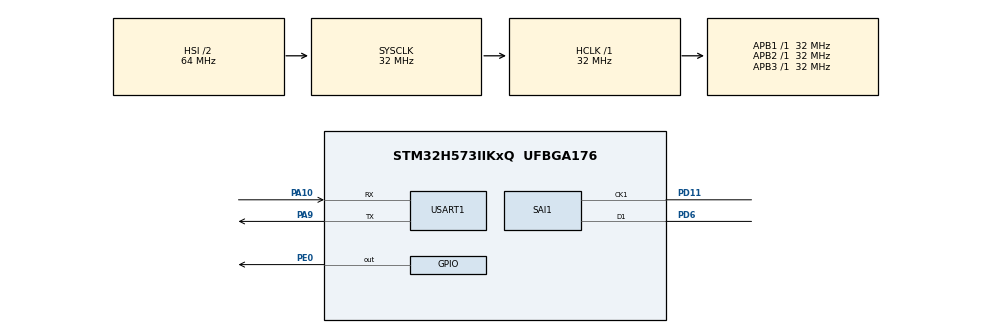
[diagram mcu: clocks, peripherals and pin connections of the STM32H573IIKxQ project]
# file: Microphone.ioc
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BOOTPATH.BootPathName=LEGACY
BOOTPATH.UserSelectedBootPath=LEGACY
CORTEX_M33_NS.userName=CORTEX_M33
GPDMA1.CIRCULARMODE_GPDMACH4=ENABLE
GPDMA1.DESTINC_GPDMACH4=DMA_DINC_INCREMENTED
GPDMA1.IPHANDLE_GPDMACH4-SIMPLEREQUEST_GPDMACH4=__NULL
GPDMA1.REQUEST_GPDMACH4=GPDMA1_REQUEST_SAI1_A
GPDMA1.SRCINC_GPDMACH4=DMA_SINC_FIXED
Mcu.Family=STM32H5
Mcu.Name=STM32H573IIKxQ
Mcu.Package=UFBGA176
NVIC.GPDMA1_Channel4_IRQn=true\:0\:0\:false\:false\:true\:false\:true\:true
NVIC.PriorityGroup=NVIC_PRIORITYGROUP_4
NVIC.SAI1_IRQn=true\:5\:0\:true\:false\:true\:true\:true\:true
PA10.Mode=Asynchronous
PA10.Signal=USART1_RX
PA9.Mode=Asynchronous
PA9.Signal=USART1_TX
PD11.Mode=PDM_Master_Mode_CK1
PD11.Signal=SAI1_CK1
PD6.Mode=PDM_Master_Mode_CK1
PD6.Signal=SAI1_D1
PE0.Signal=GPIO_Output
PH0-OSC_IN(PH0).Mode=HSE-External-Oscillator
PH0-OSC_IN(PH0).Signal=RCC_OSC_IN
PH1-OSC_OUT(PH1).Mode=HSE-External-Oscillator
PH1-OSC_OUT(PH1).Signal=RCC_OSC_OUT
ProjectManager.HeapSize=0x200
ProjectManager.StackSize=0x400
ProjectManager.TargetToolchain=STM32CubeIDE
RCC.ADCFreq_Value=32000000
RCC.AHBFreq_Value=32000000
RCC.APB1Freq_Value=32000000
RCC.APB1TimFreq_Value=32000000
RCC.APB2Freq_Value=32000000
RCC.APB2TimFreq_Value=32000000
RCC.APB3Freq_Value=32000000
RCC.CSI_VALUE=4000000
RCC.CortexFreq_Value=32000000
RCC.EPOD_VALUE=25000000
RCC.HCLKFreq_Value=32000000
RCC.HSE_VALUE=25000000
RCC.HSI48_VALUE=48000000
RCC.HSI_VALUE=64000000
RCC.LSE_VALUE=32768
RCC.LSIRC_VALUE=32000
RCC.PLL2FRACN=0
RCC.PLL2M=5
RCC.PLL2N=49
RCC.PLL2P=5
RCC.PLL2Q=4
RCC.PLL2Source=RCC_PLL2_SOURCE_HSE
RCC.PLL3FRACN=0
RCC.PLLFRACN=0
RCC.PLLSourceVirtual=RCC_PLL1_SOURCE_HSE
RCC.SYSCLKFreq_VALUE=32000000
RCC.USBFreq_Value=48000000
RCC.VCOOutputFreq_Value=3225000000
SAI1.Activation=ENABLE
SAI1.AudioFrequency-PDM_Master_Mode_CK1=SAI_AUDIO_FREQUENCY_48K
SAI1.DataSize-PDM_Master_Mode_CK1=SAI_DATASIZE_16
SAI1.ErrorAudioFreq-PDM_Master_Mode_CK1=-0.31 %
SAI1.FrameLength-PDM_Master_Mode_CK1=32
SAI1.Instance-PDM_Master_Mode_CK1=SAI$Index_Block_A
SAI1.MckOutput-PDM_Master_Mode_CK1=SAI_MCK_OUTPUT_DISABLE
SAI1.MonoStereoMode-PDM_Master_Mode_CK1=SAI_MONOMODE
SAI1.RealAudioFreq-PDM_Master_Mode_CK1=47.851 KHz
SAI1.SlotActive-PDM_Master_Mode_CK1=0x00000003
SAI1.SlotNumber-PDM_Master_Mode_CK1=2
SAI1.VirtualMode-PDM_Master_Mode_CK1=VM_MASTER
SAI1.VirtualProtocol-PDM_Master_Mode_CK1=VM_PDM_PROTOCOL
USART1.VirtualMode-Asynchronous=VM_ASYNC
VP_BOOTPATH_VS_BOOTPATH.Mode=BP_Activate
VP_CORTEX_M33_NS_VS_Hclk.Mode=Hclk_Mode
VP_GPDMA1_VS_GPDMACH4.Mode=SIMPLEREQUEST_GPDMACH4
VP_ICACHE_VS_ICACHE.Mode=DefaultMode
VP_MEMORYMAP_VS_MEMORYMAP.Mode=CurAppReg
VP_PWR_VS_LPOM.Mode=PowerOptimisation
VP_PWR_VS_SECSignals.Mode=Security/Privilege
board=custom

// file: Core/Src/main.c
/* USER CODE BEGIN Header */
/**
  ******************************************************************************
  * @file           : main.c
  * @brief          : Main program body
  ******************************************************************************
  * @attention
  *
  * Copyright (c) 2025 STMicroelectronics.
  * All rights reserved.
  *
  * This software is licensed under terms that can be found in the LICENSE file
  * in the root directory of this software component.
  * If no LICENSE file comes with this software, it is provided AS-IS.
  *
  ******************************************************************************
  */
/* USER CODE END Header */
#include "main.h"

/* USER CODE BEGIN Includes */
#include "pdm2pcm.h"
#include "stdio.h"
/* USER CODE END Includes */

SAI_HandleTypeDef hsai_BlockA1;
DMA_NodeTypeDef Node_GPDMA1_Channel4;
DMA_QListTypeDef List_GPDMA1_Channel4;
DMA_HandleTypeDef handle_GPDMA1_Channel4;

UART_HandleTypeDef huart1;

/* USER CODE BEGIN PV */
PDM_Filter_Handler_t PDM1_filter_handler;
PDM_Filter_Config_t  PDM1_filter_config;

//#define PCM_BUF_SIZE 1024
//uint16_t pcm_buffer[PCM_BUF_SIZE];
//volatile uint32_t pcm_index = 0;

#define DECIMATION_FACTOR     64
#define PCM_SAMPLES           16
#define PDM_BUFFER_SIZE_BYTES (PCM_SAMPLES * DECIMATION_FACTOR / 8)

uint8_t  pdm_raw[PDM_BUFFER_SIZE_BYTES];  // 128 bytes
volatile int16_t pcm_out[PCM_SAMPLES];            // 16 PCM samples

/* USER CODE END PV */

void SystemClock_Config(void);
static void MX_GPIO_Init(void);
static void MX_GPDMA1_Init(void);
static void MX_ICACHE_Init(void);
static void MX_USART1_UART_Init(void);
static void MX_SAI1_Init(void);

/* USER CODE BEGIN 0 */
int __io_putchar(int ch)
{
	HAL_UART_Transmit(&huart1, (uint8_t*)&ch, 1, HAL_MAX_DELAY);
	return ch;
}
/* USER CODE END 0 */

int main(void)
{

  /* MCU Configuration--------------------------------------------------------*/

  /* Reset of all peripherals, Initializes the Flash interface and the Systick. */
  HAL_Init();

  /* Configure the system clock */
  SystemClock_Config();

  /* Initialize all configured peripherals */
  MX_GPIO_Init();
  MX_GPDMA1_Init();
  MX_ICACHE_Init();
  MX_USART1_UART_Init();
  MX_SAI1_Init();
  /* USER CODE BEGIN 2 */

  MX_PDM2PCM_Init();
  HAL_SAI_Receive_DMA(&hsai_BlockA1, pdm_raw, sizeof(pdm_raw));

  /* USER CODE END 2 */

  /* Infinite loop */
  /* USER CODE BEGIN WHILE */
  while (1)
  {

//	  if (pcm_index >= PCM_BUF_SIZE)
//	      {
//	          for (int i = 0; i < PCM_BUF_SIZE; i++)
//	              printf("%d\r\n", pcm_buffer[i]);
//
//	          pcm_index = 0;
//	      }
 	  HAL_Delay(1000);

    /* USER CODE END WHILE */

  }
}

void SystemClock_Config(void)
{
  RCC_OscInitTypeDef RCC_OscInitStruct = {0};
  RCC_ClkInitTypeDef RCC_ClkInitStruct = {0};

  /** Configure the main internal regulator output voltage
  */
  __HAL_PWR_VOLTAGESCALING_CONFIG(PWR_REGULATOR_VOLTAGE_SCALE3);

  while(!__HAL_PWR_GET_FLAG(PWR_FLAG_VOSRDY)) {}

  /** Initializes the RCC Oscillators according to the specified parameters
  * in the RCC_OscInitTypeDef structure.
  */
  RCC_OscInitStruct.OscillatorType = RCC_OSCILLATORTYPE_HSI|RCC_OSCILLATORTYPE_HSE;
  RCC_OscInitStruct.HSEState = RCC_HSE_ON;
  RCC_OscInitStruct.HSIState = RCC_HSI_ON;
  RCC_OscInitStruct.HSIDiv = RCC_HSI_DIV2;
  RCC_OscInitStruct.HSICalibrationValue = RCC_HSICALIBRATION_DEFAULT;
  RCC_OscInitStruct.PLL.PLLState = RCC_PLL_NONE;
  if (HAL_RCC_OscConfig(&RCC_OscInitStruct) != HAL_OK)
  {
    Error_Handler();
  }

  /** Initializes the CPU, AHB and APB buses clocks
  */
  RCC_ClkInitStruct.ClockType = RCC_CLOCKTYPE_HCLK|RCC_CLOCKTYPE_SYSCLK
                              |RCC_CLOCKTYPE_PCLK1|RCC_CLOCKTYPE_PCLK2
                              |RCC_CLOCKTYPE_PCLK3;
  RCC_ClkInitStruct.SYSCLKSource = RCC_SYSCLKSOURCE_HSI;
  RCC_ClkInitStruct.AHBCLKDivider = RCC_SYSCLK_DIV1;
  RCC_ClkInitStruct.APB1CLKDivider = RCC_HCLK_DIV1;
  RCC_ClkInitStruct.APB2CLKDivider = RCC_HCLK_DIV1;
  RCC_ClkInitStruct.APB3CLKDivider = RCC_HCLK_DIV1;

  if (HAL_RCC_ClockConfig(&RCC_ClkInitStruct, FLASH_LATENCY_1) != HAL_OK)
  {
    Error_Handler();
  }

  /** Configure the programming delay
  */
  __HAL_FLASH_SET_PROGRAM_DELAY(FLASH_PROGRAMMING_DELAY_0);
}

static void MX_GPDMA1_Init(void)
{

  /* Peripheral clock enable */
  __HAL_RCC_GPDMA1_CLK_ENABLE();

  /* GPDMA1 interrupt Init */
    HAL_NVIC_SetPriority(GPDMA1_Channel4_IRQn, 0, 0);
    HAL_NVIC_EnableIRQ(GPDMA1_Channel4_IRQn);

  /* USER CODE BEGIN GPDMA1_Init 1 */
    __HAL_LINKDMA(&hsai_BlockA1, hdmarx, handle_GPDMA1_Channel4);

  /* USER CODE END GPDMA1_Init 1 */

}

static void MX_ICACHE_Init(void)
{

  /** Enable instruction cache (default 2-ways set associative cache)
  */
  if (HAL_ICACHE_Enable() != HAL_OK)
  {
    Error_Handler();
  }

}

static void MX_SAI1_Init(void)
{

  hsai_BlockA1.Instance = SAI1_Block_A;
  hsai_BlockA1.Init.Protocol = SAI_FREE_PROTOCOL;
  hsai_BlockA1.Init.AudioMode = SAI_MODEMASTER_RX;
  hsai_BlockA1.Init.DataSize = SAI_DATASIZE_16;
  hsai_BlockA1.Init.FirstBit = SAI_FIRSTBIT_MSB;
  hsai_BlockA1.Init.ClockStrobing = SAI_CLOCKSTROBING_FALLINGEDGE;
  hsai_BlockA1.Init.Synchro = SAI_ASYNCHRONOUS;
  hsai_BlockA1.Init.OutputDrive = SAI_OUTPUTDRIVE_DISABLE;
  hsai_BlockA1.Init.NoDivider = SAI_MASTERDIVIDER_ENABLE;
  hsai_BlockA1.Init.FIFOThreshold = SAI_FIFOTHRESHOLD_EMPTY;
  hsai_BlockA1.Init.AudioFrequency = SAI_AUDIO_FREQUENCY_48K;
  hsai_BlockA1.Init.MckOutput = SAI_MCK_OUTPUT_DISABLE;
  hsai_BlockA1.Init.MonoStereoMode = SAI_MONOMODE;
  hsai_BlockA1.Init.CompandingMode = SAI_NOCOMPANDING;
  hsai_BlockA1.Init.PdmInit.Activation = ENABLE;
  hsai_BlockA1.Init.PdmInit.MicPairsNbr = 1;
  hsai_BlockA1.Init.PdmInit.ClockEnable = SAI_PDM_CLOCK1_ENABLE;
  hsai_BlockA1.FrameInit.FrameLength = 32;
  hsai_BlockA1.FrameInit.ActiveFrameLength = 1;
  hsai_BlockA1.FrameInit.FSDefinition = SAI_FS_STARTFRAME;
  hsai_BlockA1.FrameInit.FSPolarity = SAI_FS_ACTIVE_LOW;
  hsai_BlockA1.FrameInit.FSOffset = SAI_FS_FIRSTBIT;
  hsai_BlockA1.SlotInit.FirstBitOffset = 0;
  hsai_BlockA1.SlotInit.SlotSize = SAI_SLOTSIZE_DATASIZE;
  hsai_BlockA1.SlotInit.SlotNumber = 2;
  hsai_BlockA1.SlotInit.SlotActive = 0x00000003;
  if (HAL_SAI_Init(&hsai_BlockA1) != HAL_OK)
  {
    Error_Handler();
  }

}

static void MX_USART1_UART_Init(void)
{

  huart1.Instance = USART1;
  huart1.Init.BaudRate = 115200;
  huart1.Init.WordLength = UART_WORDLENGTH_8B;
  huart1.Init.StopBits = UART_STOPBITS_1;
  huart1.Init.Parity = UART_PARITY_NONE;
  huart1.Init.Mode = UART_MODE_TX_RX;
  huart1.Init.HwFlowCtl = UART_HWCONTROL_NONE;
  huart1.Init.OverSampling = UART_OVERSAMPLING_16;
  huart1.Init.OneBitSampling = UART_ONE_BIT_SAMPLE_DISABLE;
  huart1.Init.ClockPrescaler = UART_PRESCALER_DIV1;
  huart1.AdvancedInit.AdvFeatureInit = UART_ADVFEATURE_NO_INIT;
  if (HAL_UART_Init(&huart1) != HAL_OK)
  {
    Error_Handler();
  }
  if (HAL_UARTEx_SetTxFifoThreshold(&huart1, UART_TXFIFO_THRESHOLD_1_8) != HAL_OK)
  {
    Error_Handler();
  }
  if (HAL_UARTEx_SetRxFifoThreshold(&huart1, UART_RXFIFO_THRESHOLD_1_8) != HAL_OK)
  {
    Error_Handler();
  }
  if (HAL_UARTEx_DisableFifoMode(&huart1) != HAL_OK)
  {
    Error_Handler();
  }

}

static void MX_GPIO_Init(void)
{
  GPIO_InitTypeDef GPIO_InitStruct = {0};

  /* GPIO Ports Clock Enable */
  __HAL_RCC_GPIOD_CLK_ENABLE();
  __HAL_RCC_GPIOE_CLK_ENABLE();
  __HAL_RCC_GPIOA_CLK_ENABLE();
  __HAL_RCC_GPIOH_CLK_ENABLE();

  /*Configure GPIO pin Output Level */
  HAL_GPIO_WritePin(GPIOE, GPIO_PIN_0, GPIO_PIN_RESET);

  /*Configure GPIO pin : PE0 */
  GPIO_InitStruct.Pin = GPIO_PIN_0;
  GPIO_InitStruct.Mode = GPIO_MODE_OUTPUT_PP;
  GPIO_InitStruct.Pull = GPIO_NOPULL;
  GPIO_InitStruct.Speed = GPIO_SPEED_FREQ_LOW;
  HAL_GPIO_Init(GPIOE, &GPIO_InitStruct);

}

/* USER CODE BEGIN 4 */
void HAL_SAI_RxCpltCallback(SAI_HandleTypeDef *hsai)
{
    if (hsai == &hsai_BlockA1)
    {
        PDM_Filter(pdm_raw, pcm_out, &PDM1_filter_handler);
        printf("PCM: %d\r\n", pcm_out[0]);

    }

//	 static uint32_t last_tick = 0;
//
//	    PDM_Filter(pdm_raw, pcm_out, &PDM1_filter_handler);
//
//	    uint32_t now = HAL_GetTick();
//	    if (now - last_tick >= 100)   // print every 100 ms (10 Hz)
//	    {
//	        last_tick = now;
//	        printf("PCM: %d\r\n", pcm_out[0]);
//	    }
}
/* USER CODE END 4 */

void Error_Handler(void)
{
  __disable_irq();
  while (1)
  {
  }
}
